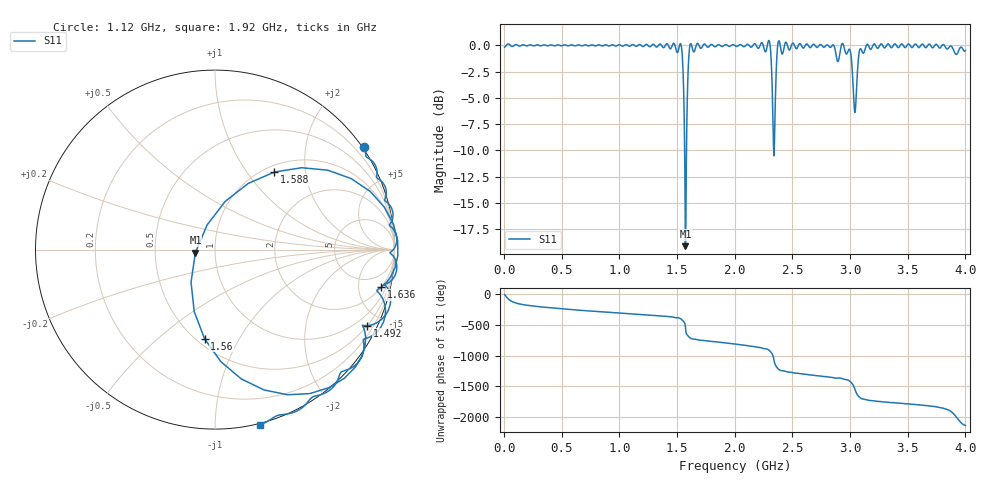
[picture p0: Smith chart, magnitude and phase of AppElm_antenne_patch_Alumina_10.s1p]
! TOUCHSTONE file generated by CST MICROWAVE STUDIO
! Date and time: Thu Jun  9 09:30:43 2022
! Project name: AppElm_antenne_patch_Alumina.cst
! Parameters = {L=30.5; W=41.8; e=0.035; h=1.6; lambda=0.190476; ls=90; w0=1.12; w1=0.44755; ws=90; y0=14; y1=10}
! Header version: 2018
! Port assignment regex: !\s*Touchstone port\s*([0-9]+)\s*=\s*(CST MWS port|CST DS port)\s*([0-9]+|Zmin|Zmax)\s*\(\"(.*)\"\)(\s*mode\s*([0-9]+))?.*
! Touchstone port assignment:
! Touchstone port 1 = CST MWS port 1 ("")
# GHz S MA R 50
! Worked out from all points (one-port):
!   1000 points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, 4 MHz to 4 GHz, reference 50 ohm
!   lowest |S11| = -19.1 dB at 1.572 GHz (marker M1), VSWR 1.25, Z = 40.1 - j1.37 ohm
!   |S11| at or under -10 dB: 1.565 GHz to 1.581 GHz (16.2 MHz wide, 1.03 % of centre); 2.337601 GHz to 2.341726 GHz (4.125 MHz wide, 0.176 % of centre)
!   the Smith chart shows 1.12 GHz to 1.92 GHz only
!   S11 on the Smith chart (normalised r, x): 1.12 GHz: -0.04, +3.21; 1.492 GHz: 0.49, -4.19; 1.56 GHz: 0.55, -0.73; 1.588 GHz: 1.11, +1.36; 1.636 GHz: 1.98, -8.56; 1.92 GHz: -0.01, -1.29
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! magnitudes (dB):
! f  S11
! 4 MHz  -0.2
! 504 MHz  0.0
! 1.004 GHz  0.0
! 1.12 GHz  0.1
! 1.492 GHz  -0.5
! 1.504 GHz  -0.7
! 1.536 GHz  0.0
! 1.544 GHz  -0.9
! 1.56 GHz  -6.0
! 1.572 GHz  -19.1
! 1.588 GHz  -5.3
! 1.608 GHz  -0.2
! 1.636 GHz  -0.4
! 1.92 GHz  0.1
! 2.004 GHz  0.0
! 2.292 GHz  0.4
! 2.304 GHz  0.2
! 2.328 GHz  -5.5
! 2.34 GHz  -10.5
! 2.38 GHz  0.4
! 2.504 GHz  0.2
! 2.892 GHz  -1.5
! 2.936 GHz  0.2
! 3.004 GHz  -0.7
! 3.044 GHz  -6.4
! 3.096 GHz  -0.4
! 3.504 GHz  0.1
! 4 GHz  -0.5
